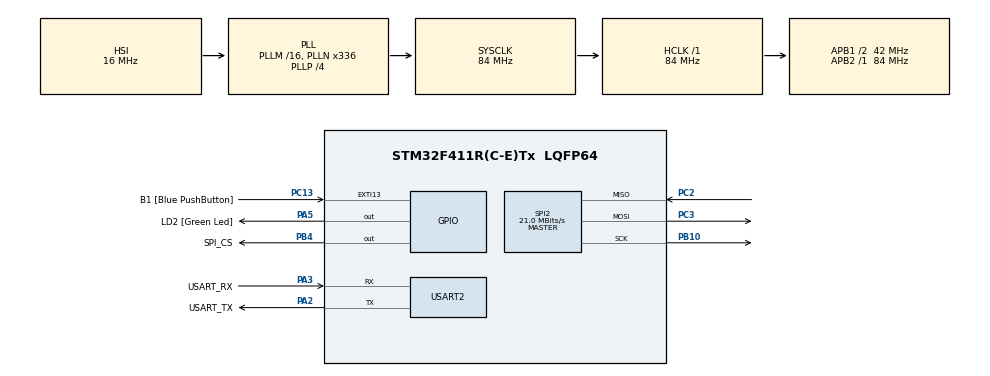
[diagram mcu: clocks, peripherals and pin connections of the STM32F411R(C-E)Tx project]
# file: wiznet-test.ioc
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Mcu.Family=STM32F4
Mcu.Name=STM32F411R(C-E)Tx
Mcu.Package=LQFP64
NVIC.PriorityGroup=NVIC_PRIORITYGROUP_0
PA13.GPIO_Label=TMS
PA13.Mode=Serial_Wire
PA13.Signal=SYS_JTMS-SWDIO
PA14.GPIO_Label=TCK
PA14.Mode=Serial_Wire
PA14.Signal=SYS_JTCK-SWCLK
PA2.GPIO_Label=USART_TX
PA2.Mode=Asynchronous
PA2.Signal=USART2_TX
PA3.GPIO_Label=USART_RX
PA3.Mode=Asynchronous
PA3.Signal=USART2_RX
PA5.GPIO_Label=LD2 [Green Led]
PA5.Signal=GPIO_Output
PB10.Mode=Full_Duplex_Master
PB10.Signal=SPI2_SCK
PB3.GPIO_Label=SWO
PB3.Signal=SYS_JTDO-SWO
PB4.GPIO_Label=SPI_CS
PB4.PinState=GPIO_PIN_RESET
PB4.Signal=GPIO_Output
PC13-ANTI_TAMP.GPIO_Label=B1 [Blue PushButton]
PC13-ANTI_TAMP.GPIO_ModeDefaultEXTI=GPIO_MODE_IT_FALLING
PC13-ANTI_TAMP.Signal=GPXTI13
PC14-OSC32_IN.Mode=LSE-External-Oscillator
PC14-OSC32_IN.Signal=RCC_OSC32_IN
PC15-OSC32_OUT.Mode=LSE-External-Oscillator
PC15-OSC32_OUT.Signal=RCC_OSC32_OUT
PC2.Mode=Full_Duplex_Master
PC2.Signal=SPI2_MISO
PC3.Mode=Full_Duplex_Master
PC3.Signal=SPI2_MOSI
PH0\ -\ OSC_IN.Mode=HSE-External-Clock-Source
PH0\ -\ OSC_IN.Signal=RCC_OSC_IN
PH1\ -\ OSC_OUT.Mode=HSE-External-Clock-Source
PH1\ -\ OSC_OUT.Signal=RCC_OSC_OUT
ProjectManager.HeapSize=0x200
ProjectManager.StackSize=0x400
ProjectManager.TargetToolchain=Makefile
RCC.48MHZClocksFreq_Value=84000000
RCC.AHBFreq_Value=84000000
RCC.APB1CLKDivider=RCC_HCLK_DIV2
RCC.APB1Freq_Value=42000000
RCC.APB1TimFreq_Value=84000000
RCC.APB2Freq_Value=84000000
RCC.APB2TimFreq_Value=84000000
RCC.CortexFreq_Value=84000000
RCC.FLatency-AdvancedSettings=FLASH_LATENCY_2
RCC.HCLKFreq_Value=84000000
RCC.HSE_VALUE=8000000
RCC.HSI_VALUE=16000000
RCC.PLLN=336
RCC.PLLP=RCC_PLLP_DIV4
RCC.SYSCLKFreq_VALUE=84000000
RCC.SYSCLKSource=RCC_SYSCLKSOURCE_PLLCLK
RCC.VCOOutputFreq_Value=336000000
SPI2.CalculateBaudRate=21.0 MBits/s
SPI2.Direction=SPI_DIRECTION_2LINES
SPI2.Mode=SPI_MODE_MASTER
SPI2.VirtualType=VM_MASTER
USART2.VirtualMode=VM_ASYNC
board=NUCLEO-F411RE

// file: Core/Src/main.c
/* USER CODE BEGIN Header */
/**
  ******************************************************************************
  * @file           : main.c
  * @brief          : Main program body
  ******************************************************************************
  * @attention
  *
  * Copyright (c) 2023 STMicroelectronics.
  * All rights reserved.
  *
  * This software is licensed under terms that can be found in the LICENSE file
  * in the root directory of this software component.
  * If no LICENSE file comes with this software, it is provided AS-IS.
  *
  ******************************************************************************
  */
/* USER CODE END Header */
#include "main.h"

SPI_HandleTypeDef hspi2;

UART_HandleTypeDef huart2;

void SystemClock_Config(void);
static void MX_GPIO_Init(void);
static void MX_SPI2_Init(void);
static void MX_USART2_UART_Init(void);

int main(void)
{

  /* MCU Configuration--------------------------------------------------------*/

  /* Reset of all peripherals, Initializes the Flash interface and the Systick. */
  HAL_Init();

  /* Configure the system clock */
  SystemClock_Config();

  /* Initialize all configured peripherals */
  MX_GPIO_Init();
  MX_SPI2_Init();
  MX_USART2_UART_Init();
  /* USER CODE BEGIN 2 */
  HAL_GPIO_WritePin(SPI_CS_GPIO_Port, SPI_CS_Pin, GPIO_PIN_SET);
  HAL_UART_Transmit(&huart2, (uint8_t *)"Starting MCU\r\n", 15, 1000);
  w5500_reset();
  HAL_UART_Transmit(&huart2, (uint8_t *)"Chip resetted\r\n", 16, 1000);
  uint8_t version = w5500_get_version();
  if(version == 4){
    HAL_UART_Transmit(&huart2, (uint8_t *)"Version matched!\r\n", 19, 1000);
  }
  else{
    HAL_UART_Transmit(&huart2, (uint8_t *)"Version missmatched... Exiting\r\n", 33, 1000);
    return 0;
  }
  uint8_t target_ip_address[IP_ADDRESS_SIZE] = {10, 10, 10, 5};
  w5500_set_addresses();
  HAL_UART_Transmit(&huart2, (uint8_t *)"Connecting...\r\n", 16, 1000);
  uint8_t socket = w5500_connect(24541, target_ip_address);
  if(socket == 255){
    HAL_UART_Transmit(&huart2, (uint8_t *)"Socket is closed\r\n", 19, 1000);
  }
  else{
    HAL_UART_Transmit(&huart2, (uint8_t *)"Connected to server!\r\n", 23, 1000);
  }
  /* USER CODE END 2 */

  /* Infinite loop */
  /* USER CODE BEGIN WHILE */
  while (1)
  {
    w5500_send(socket, (uint8_t *)"Hello world!\r\n", 15);
    HAL_UART_Transmit(&huart2, (uint8_t *)"Data sent to server!\r\n", 23, 1000);
    HAL_Delay(1000);
    /* USER CODE END WHILE */

  }
}

void SystemClock_Config(void)
{
  RCC_OscInitTypeDef RCC_OscInitStruct = {0};
  RCC_ClkInitTypeDef RCC_ClkInitStruct = {0};

  /** Configure the main internal regulator output voltage
  */
  __HAL_RCC_PWR_CLK_ENABLE();
  __HAL_PWR_VOLTAGESCALING_CONFIG(PWR_REGULATOR_VOLTAGE_SCALE1);

  /** Initializes the RCC Oscillators according to the specified parameters
  * in the RCC_OscInitTypeDef structure.
  */
  RCC_OscInitStruct.OscillatorType = RCC_OSCILLATORTYPE_HSI;
  RCC_OscInitStruct.HSIState = RCC_HSI_ON;
  RCC_OscInitStruct.HSICalibrationValue = RCC_HSICALIBRATION_DEFAULT;
  RCC_OscInitStruct.PLL.PLLState = RCC_PLL_ON;
  RCC_OscInitStruct.PLL.PLLSource = RCC_PLLSOURCE_HSI;
  RCC_OscInitStruct.PLL.PLLM = 16;
  RCC_OscInitStruct.PLL.PLLN = 336;
  RCC_OscInitStruct.PLL.PLLP = RCC_PLLP_DIV4;
  RCC_OscInitStruct.PLL.PLLQ = 4;
  if (HAL_RCC_OscConfig(&RCC_OscInitStruct) != HAL_OK)
  {
    Error_Handler();
  }

  /** Initializes the CPU, AHB and APB buses clocks
  */
  RCC_ClkInitStruct.ClockType = RCC_CLOCKTYPE_HCLK|RCC_CLOCKTYPE_SYSCLK
                              |RCC_CLOCKTYPE_PCLK1|RCC_CLOCKTYPE_PCLK2;
  RCC_ClkInitStruct.SYSCLKSource = RCC_SYSCLKSOURCE_PLLCLK;
  RCC_ClkInitStruct.AHBCLKDivider = RCC_SYSCLK_DIV1;
  RCC_ClkInitStruct.APB1CLKDivider = RCC_HCLK_DIV2;
  RCC_ClkInitStruct.APB2CLKDivider = RCC_HCLK_DIV1;

  if (HAL_RCC_ClockConfig(&RCC_ClkInitStruct, FLASH_LATENCY_2) != HAL_OK)
  {
    Error_Handler();
  }
}

static void MX_SPI2_Init(void)
{

  /* SPI2 parameter configuration*/
  hspi2.Instance = SPI2;
  hspi2.Init.Mode = SPI_MODE_MASTER;
  hspi2.Init.Direction = SPI_DIRECTION_2LINES;
  hspi2.Init.DataSize = SPI_DATASIZE_8BIT;
  hspi2.Init.CLKPolarity = SPI_POLARITY_LOW;
  hspi2.Init.CLKPhase = SPI_PHASE_1EDGE;
  hspi2.Init.NSS = SPI_NSS_SOFT;
  hspi2.Init.BaudRatePrescaler = SPI_BAUDRATEPRESCALER_2;
  hspi2.Init.FirstBit = SPI_FIRSTBIT_MSB;
  hspi2.Init.TIMode = SPI_TIMODE_DISABLE;
  hspi2.Init.CRCCalculation = SPI_CRCCALCULATION_DISABLE;
  hspi2.Init.CRCPolynomial = 10;
  if (HAL_SPI_Init(&hspi2) != HAL_OK)
  {
    Error_Handler();
  }

}

static void MX_USART2_UART_Init(void)
{

  huart2.Instance = USART2;
  huart2.Init.BaudRate = 115200;
  huart2.Init.WordLength = UART_WORDLENGTH_8B;
  huart2.Init.StopBits = UART_STOPBITS_1;
  huart2.Init.Parity = UART_PARITY_NONE;
  huart2.Init.Mode = UART_MODE_TX_RX;
  huart2.Init.HwFlowCtl = UART_HWCONTROL_NONE;
  huart2.Init.OverSampling = UART_OVERSAMPLING_16;
  if (HAL_UART_Init(&huart2) != HAL_OK)
  {
    Error_Handler();
  }

}

static void MX_GPIO_Init(void)
{
  GPIO_InitTypeDef GPIO_InitStruct = {0};

  /* GPIO Ports Clock Enable */
  __HAL_RCC_GPIOC_CLK_ENABLE();
  __HAL_RCC_GPIOH_CLK_ENABLE();
  __HAL_RCC_GPIOA_CLK_ENABLE();
  __HAL_RCC_GPIOB_CLK_ENABLE();

  /*Configure GPIO pin Output Level */
  HAL_GPIO_WritePin(LD2_GPIO_Port, LD2_Pin, GPIO_PIN_RESET);

  /*Configure GPIO pin Output Level */
  HAL_GPIO_WritePin(SPI_CS_GPIO_Port, SPI_CS_Pin, GPIO_PIN_RESET);

  /*Configure GPIO pin : B1_Pin */
  GPIO_InitStruct.Pin = B1_Pin;
  GPIO_InitStruct.Mode = GPIO_MODE_IT_FALLING;
  GPIO_InitStruct.Pull = GPIO_NOPULL;
  HAL_GPIO_Init(B1_GPIO_Port, &GPIO_InitStruct);

  /*Configure GPIO pin : LD2_Pin */
  GPIO_InitStruct.Pin = LD2_Pin;
  GPIO_InitStruct.Mode = GPIO_MODE_OUTPUT_PP;
  GPIO_InitStruct.Pull = GPIO_NOPULL;
  GPIO_InitStruct.Speed = GPIO_SPEED_FREQ_LOW;
  HAL_GPIO_Init(LD2_GPIO_Port, &GPIO_InitStruct);

  /*Configure GPIO pin : SPI_CS_Pin */
  GPIO_InitStruct.Pin = SPI_CS_Pin;
  GPIO_InitStruct.Mode = GPIO_MODE_OUTPUT_PP;
  GPIO_InitStruct.Pull = GPIO_NOPULL;
  GPIO_InitStruct.Speed = GPIO_SPEED_FREQ_LOW;
  HAL_GPIO_Init(SPI_CS_GPIO_Port, &GPIO_InitStruct);

}

void Error_Handler(void)
{
  __disable_irq();
  while (1)
  {
  }
}
